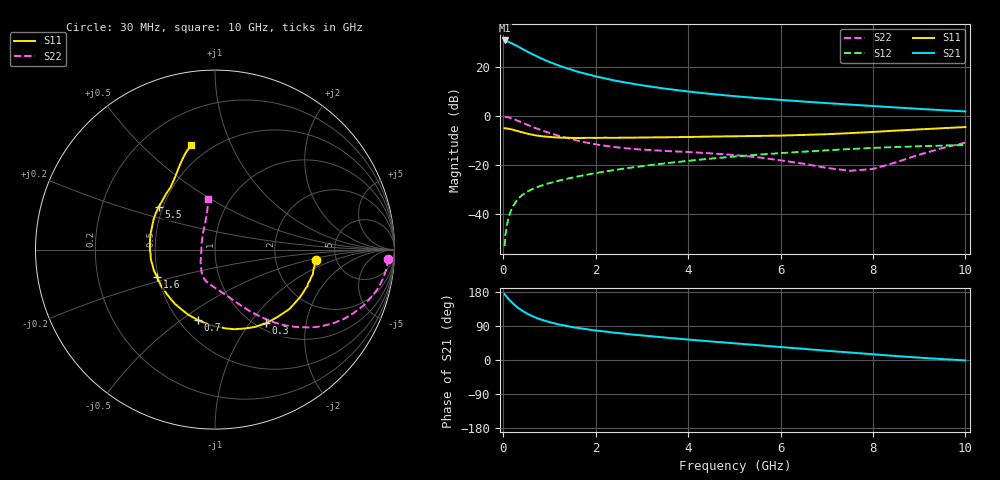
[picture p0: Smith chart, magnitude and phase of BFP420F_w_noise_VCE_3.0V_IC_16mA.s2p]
! Infineon Technologies  Discrete & RF Semiconductors
! BFP420F
! VCE =  3.0 V,  IC =  16 mA
! Common Emitter S-Parameters:  Sep 2011
# GHz  S  MA  R  50
!  f  S11  S21  S12  S22
! GHz  MAG  ANG  MAG  ANG  MAG  ANG  MAG  ANG
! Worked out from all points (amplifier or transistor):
!   54 points, 30 MHz to 10 GHz, reference 50 ohm
!   highest |S21| = 30.9 dB at 30 MHz (marker M1)
!   |S21| within 3 dB of that: start of sweep to 369.4 MHz
!   unconditionally stable (mu >= 1): 1.82 GHz to end of sweep
!   at 120 MHz: K = 0.24, MSG = 35.9 dB, |S12| = -41.4 dB
!   at 1.3 GHz: K = 0.86, MSG = 23.0 dB, |S12| = -26.0 dB
!   at 10 GHz: K = 1.25, MAG = 3.8 dB, |S12| = -11.8 dB
!   lowest NFmin = 1.40 dB at 450 MHz
!   S11 on the Smith chart (normalised r, x): 30 MHz: 3.49, -0.58; 300 MHz: 1.10, -1.21; 700 MHz: 0.62, -0.58; 1.6 GHz: 0.49, -0.17; 5.5 GHz: 0.47, +0.26; 10 GHz: 0.40, +0.72
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0.03  0.5644 -5.8  35.16 174.0  0.0022 85.8  0.9644 -3.1
0.05  0.5618 -9.5  34.57 170.5  0.004 84.6  0.9632 -5.3
0.07  0.5627 -14.1  34.4 167.9  0.005 83.9  0.9571 -7.6
0.1  0.5513 -20.0  33.62 163.2  0.0072 81.0  0.9446 -10.9
0.15  0.5422 -29.6  31.85 156.3  0.0106 78.0  0.9174 -15.9
0.2  0.5309 -38.5  30.22 150.4  0.0138 75.3  0.8859 -20.5
0.25  0.5119 -47.2  28.52 144.7  0.0165 72.8  0.8494 -24.6
0.3  0.4994 -55.4  27.07 139.7  0.0193 70.4  0.8153 -28.3
0.4  0.4689 -69.7  23.98 130.9  0.0239 66.7  0.7443 -34.6
0.5  0.443 -82.4  21.34 123.6  0.0278 64.0  0.6788 -39.7
0.6  0.4216 -93.7  19.02 117.3  0.0312 62.1  0.6196 -44.0
0.7  0.4046 -103.3  17.15 112.0  0.0344 60.9  0.5705 -47.6
0.9  0.3816 -119.4  13.99 103.5  0.04 59.5  0.4866 -53.3
1.1  0.3694 -132.1  11.77 96.8  0.0453 58.9  0.4228 -58.0
1.6  0.3581 -154.5  8.14 84.8  0.0581 58.4  0.3173 -68.0
1.7  0.3577 -157.9  7.682 83.2  0.0607 58.4  0.3013 -69.8
2.4  0.3597 -175.7  5.361 72.1  0.079 57.2  0.2342 -82.9
3.5  0.3695 166.0  3.643 59.3  0.1083 53.9  0.1944 -99.2
5.5  0.3934 143.1  2.333 39.1  0.1623 43.5  0.1443 -121.4
7  0.427 125.4  1.844 24.4  0.1998 34.4  0.0874 -153.0
8.5  0.5057 113.1  1.503 10.4  0.2338 24.1  0.1138 126.1
10  0.5979 102.8  1.247 -1.1  0.2572 15.0  0.2869 97.3
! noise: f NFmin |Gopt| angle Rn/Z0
0.45  1.4  0.11  177  0.19
0.9  1.41  0.12  171  0.13
1.9  1.53  0.22  -175  0.14
2.4  1.59  0.22  -173  0.12
3.5  1.84  0.26  -161  0.16
